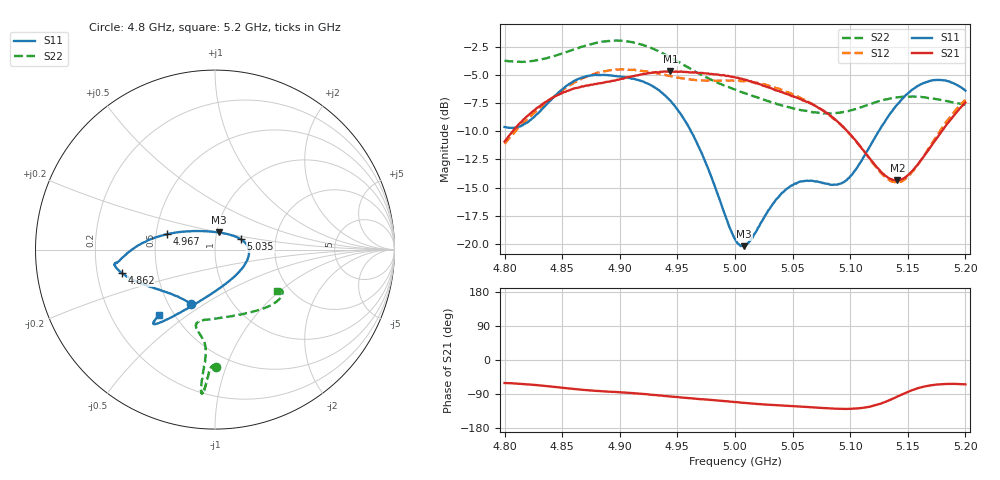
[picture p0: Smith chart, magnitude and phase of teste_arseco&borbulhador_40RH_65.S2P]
! Network Analyzer HP8722D
! Hewlett-Packard
! Data name: Linha & Wilkinson
! Saver's name: Rodrigo Anjos
! Comments: Teste da utilização de aquisição
! continua pelo VNA HP8722D
! Time and date: 15/4/2025 16:53
!  Frequency  S11  S21  S12  S22
# HZ  S  MA R 50
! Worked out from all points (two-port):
!   401 points, 4.8 GHz to 5.2 GHz, reference 50 ohm
!   highest |S21| = -4.62 dB at 4.944 GHz (marker M1); lowest = -14.4 dB at 5.141 GHz (marker M2)
!   |S21| within 3 dB of the highest: 4.832 GHz to 5.068 GHz (235.7 MHz wide, 4.76 % of centre); 5.19813 GHz to end of sweep
!   lowest |S11| = -20.2 dB at 5.008 GHz (marker M3), VSWR 1.22, Z = 51.1 + j9.83 ohm
!   |S11| at or under -10 dB: 4.962 GHz to 5.125 GHz (162.8 MHz wide, 3.23 % of centre)
!   |S22| runs from -8.4 to -1.9 dB; largest |S21 - S12| = 0.88
!   S11 on the Smith chart (normalised r, x): 4.8 GHz: 0.65, -0.44; 4.862 GHz: 0.31, -0.11; 4.967 GHz: 0.57, +0.11; 5.035 GHz: 1.33, +0.16; 5.2 GHz: 0.41, -0.39
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4.8e9  0.3311 -114.0  0.2849 -60.8  0.2786 -175.0  0.6541 -89.7
4.82e9  0.3474 -134.9  0.3712 -64.1  0.3597 -173.5  0.6485 -91.4
4.84e9  0.4354 -153.1  0.4413 -69.8  0.4416 -173.9  0.6781 -92.7
4.862e9  0.536 -166.0  0.4944 -76.9  0.5262 -176.5  0.7393 -93.8
4.867e9  0.5495 -167.9  0.5028 -78.4  0.5431 -177.7  0.7549 -93.9
4.902e9  0.5533 -172.4  0.5434 -85.4  0.5984 175.2  0.8022 -95.3
4.934e9  0.4831 -178.1  0.5812 -93.7  0.5727 171.8  0.7173 -95.7
4.944e9  0.4335 177.2  0.5872 -96.3  0.5573 171.8  0.6762 -95.5
4.967e9  0.2814 162.2  0.5779 -102.3  0.5348 173.8  0.5783 -95.1
5e9  0.1048 105.9  0.5515 -111.2  0.5321 176.2  0.4863 -99.3
5.008e9  0.09739 78.1  0.5384 -113.1  0.5298 176.2  0.4697 -101.2
5.035e9  0.1555 22.0  0.4827 -119.0  0.4956 174.9  0.4224 -103.9
5.05e9  0.1822 6.0  0.4556 -121.7  0.4625 174.3  0.4018 -100.4
5.067e9  0.1904 -12.2  0.419 -124.8  0.4203 173.8  0.3862 -91.6
5.086e9  0.1831 -42.7  0.3614 -128.3  0.3587 173.6  0.3816 -77.5
5.097e9  0.192 -65.9  0.3185 -129.2  0.3174 174.5  0.3893 -68.3
5.134e9  0.3748 -116.6  0.1951 -106.2  0.1917 -158.9  0.4429 -43.5
5.141e9  0.4179 -120.5  0.1913 -96.3  0.1872 -148.0  0.4492 -40.3
5.153e9  0.4822 -125.3  0.2088 -80.4  0.2062 -129.6  0.4528 -36.0
5.17e9  0.5323 -128.9  0.2707 -66.7  0.2755 -112.9  0.445 -32.2
5.184e9  0.5309 -130.1  0.3412 -63.2  0.3521 -107.3  0.432 -31.3
5.2e9  0.4809 -130.6  0.4258 -64.2  0.4375 -106.3  0.4161 -33.5
